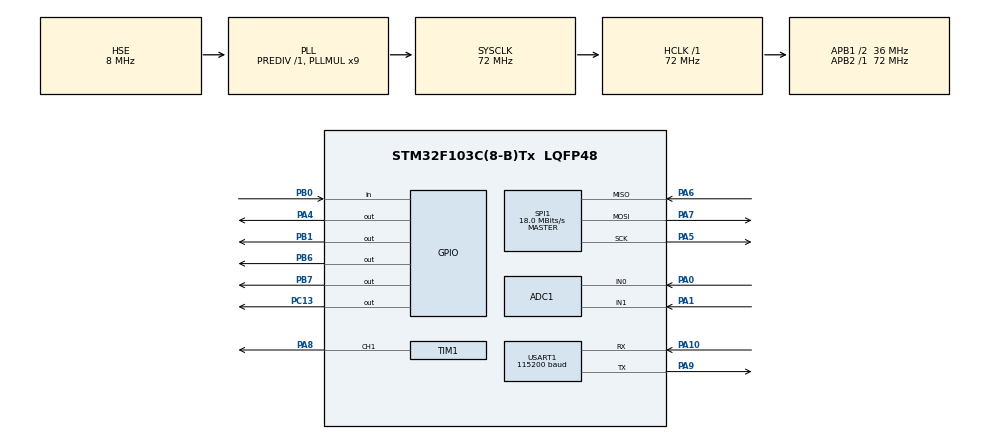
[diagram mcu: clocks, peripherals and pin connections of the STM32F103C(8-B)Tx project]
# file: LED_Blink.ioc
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ADC1.Channel-0\#ChannelRegularConversion=ADC_CHANNEL_0
ADC1.Channel-1\#ChannelRegularConversion=ADC_CHANNEL_1
ADC1.ContinuousConvMode=ENABLE
ADC1.NbrOfConversion=2
ADC1.NbrOfConversionFlag=1
ADC1.Rank-0\#ChannelRegularConversion=1
ADC1.Rank-1\#ChannelRegularConversion=2
ADC1.SamplingTime-0\#ChannelRegularConversion=ADC_SAMPLETIME_239CYCLES_5
ADC1.SamplingTime-1\#ChannelRegularConversion=ADC_SAMPLETIME_239CYCLES_5
ADC1.master=1
Dma.ADC1.0.Direction=DMA_PERIPH_TO_MEMORY
Dma.ADC1.0.Instance=DMA1_Channel1
Dma.ADC1.0.MemDataAlignment=DMA_MDATAALIGN_HALFWORD
Dma.ADC1.0.MemInc=DMA_MINC_ENABLE
Dma.ADC1.0.Mode=DMA_CIRCULAR
Dma.ADC1.0.PeriphDataAlignment=DMA_PDATAALIGN_HALFWORD
Dma.ADC1.0.PeriphInc=DMA_PINC_DISABLE
Dma.ADC1.0.Priority=DMA_PRIORITY_LOW
Dma.Request0=ADC1
FREERTOS.Tasks01=defaultTask,24,128,StartDefaultTask,Default,NULL,Dynamic,NULL,NULL
FREERTOS.configTOTAL_HEAP_SIZE=10240
Mcu.Family=STM32F1
Mcu.Name=STM32F103C(8-B)Tx
Mcu.Package=LQFP48
NVIC.DMA1_Channel1_IRQn=true\:5\:0\:false\:false\:true\:true\:false\:true\:true
NVIC.PriorityGroup=NVIC_PRIORITYGROUP_4
NVIC.TIM2_IRQn=true\:15\:0\:false\:false\:true\:false\:false\:true\:true
NVIC.TimeBase=TIM2_IRQn
NVIC.TimeBaseIP=TIM2
NVIC.USART1_IRQn=true\:3\:0\:true\:false\:true\:true\:true\:true\:true
PA0-WKUP.Signal=ADCx_IN0
PA1.Signal=ADCx_IN1
PA10.Mode=Asynchronous
PA10.Signal=USART1_RX
PA13.Mode=Serial_Wire
PA13.Signal=SYS_JTMS-SWDIO
PA14.Mode=Serial_Wire
PA14.Signal=SYS_JTCK-SWCLK
PA4.GPIO_Speed=GPIO_SPEED_FREQ_HIGH
PA4.PinState=GPIO_PIN_SET
PA4.Signal=GPIO_Output
PA5.Mode=Full_Duplex_Master
PA5.Signal=SPI1_SCK
PA6.Mode=Full_Duplex_Master
PA6.Signal=SPI1_MISO
PA7.Mode=Full_Duplex_Master
PA7.Signal=SPI1_MOSI
PA8.Signal=S_TIM1_CH1
PA9.Mode=Asynchronous
PA9.Signal=USART1_TX
PB0.GPIO_PuPd=GPIO_PULLUP
PB0.Signal=GPIO_Input
PB1.PinState=GPIO_PIN_SET
PB1.Signal=GPIO_Output
PB6.GPIO_ModeDefaultOutputPP=GPIO_MODE_OUTPUT_OD
PB6.GPIO_PuPd=GPIO_PULLUP
PB6.PinState=GPIO_PIN_SET
PB6.Signal=GPIO_Output
PB7.GPIO_ModeDefaultOutputPP=GPIO_MODE_OUTPUT_OD
PB7.GPIO_PuPd=GPIO_PULLUP
PB7.PinState=GPIO_PIN_SET
PB7.Signal=GPIO_Output
PC13-TAMPER-RTC.PinState=GPIO_PIN_SET
PC13-TAMPER-RTC.Signal=GPIO_Output
PD0-OSC_IN.Mode=HSE-External-Oscillator
PD0-OSC_IN.Signal=RCC_OSC_IN
PD1-OSC_OUT.Mode=HSE-External-Oscillator
PD1-OSC_OUT.Signal=RCC_OSC_OUT
ProjectManager.HeapSize=0x200
ProjectManager.StackSize=0x400
ProjectManager.TargetToolchain=STM32CubeIDE
RCC.ADCPresc=RCC_ADCPCLK2_DIV6
RCC.AHBFreq_Value=72000000
RCC.APB1CLKDivider=RCC_HCLK_DIV2
RCC.APB1Freq_Value=36000000
RCC.APB1TimFreq_Value=72000000
RCC.APB2Freq_Value=72000000
RCC.APB2TimFreq_Value=72000000
RCC.HCLKFreq_Value=72000000
RCC.PLLMUL=RCC_PLL_MUL9
RCC.PLLSourceVirtual=RCC_PLLSOURCE_HSE
RCC.SYSCLKFreq_VALUE=72000000
RCC.SYSCLKSource=RCC_SYSCLKSOURCE_PLLCLK
RCC.USBFreq_Value=72000000
SH.ADCx_IN0.0=ADC1_IN0,IN0
SH.ADCx_IN1.0=ADC1_IN1,IN1
SH.S_TIM1_CH1.0=TIM1_CH1,PWM Generation1 CH1
SPI1.BaudRatePrescaler=SPI_BAUDRATEPRESCALER_4
SPI1.CalculateBaudRate=18.0 MBits/s
SPI1.Direction=SPI_DIRECTION_2LINES
SPI1.Mode=SPI_MODE_MASTER
SPI1.VirtualType=VM_MASTER
TIM1.Channel-PWM\ Generation1\ CH1=TIM_CHANNEL_1
TIM1.Period=999
TIM1.Prescaler=71
TIM1.TIM_MasterSlaveMode=TIM_MASTERSLAVEMODE_ENABLE
USART1.BaudRate=115200
USART1.VirtualMode=VM_ASYNC
VP_FREERTOS_VS_CMSIS_V2.Mode=CMSIS_V2
VP_SYS_VS_tim2.Mode=TIM2
board=custom

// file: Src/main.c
/* USER CODE BEGIN Header */
/**
  ******************************************************************************
  * @file           : main.c
  * @brief          : Main program body
  ******************************************************************************
  * @attention
  *
  * Copyright (c) 2026 STMicroelectronics.
  * All rights reserved.
  *
  * This software is licensed under terms that can be found in the LICENSE file
  * in the root directory of this software component.
  * If no LICENSE file comes with this software, it is provided AS-IS.
  ******************************************************************************
  */
/* USER CODE BEGIN Header */
/**
  ******************************************************************************
  * @file           : main.c
  * @brief          : Main program body
  ******************************************************************************
  * @attention
  *
  * Copyright (c) 2026 STMicroelectronics.
  * All rights reserved.
  *
  * This software is licensed under terms that can be found in the LICENSE file
  * in the root directory of this software component.
  * If no LICENSE file comes with this software, it is provided AS-IS.
  ******************************************************************************
  */
/* USER CODE END Header */
#include "main.h"
#include "cmsis_os.h"

/* USER CODE BEGIN Includes */
#include <string.h>
#include <stdio.h>
#include "oled.h"
#include "w25q.h"
/* USER CODE END Includes */

ADC_HandleTypeDef hadc1;
DMA_HandleTypeDef hdma_adc1;

SPI_HandleTypeDef hspi1;

TIM_HandleTypeDef htim1;

UART_HandleTypeDef huart1;

/* Definitions for defaultTask */
osThreadId_t defaultTaskHandle;
const osThreadAttr_t defaultTask_attributes = {
  .name = "defaultTask",
  .stack_size = 128 * 4,
  .priority = (osPriority_t) osPriorityNormal,
};
/* USER CODE BEGIN PV */

uint8_t  led_flag = 0; //0灭，1亮
//ADC采集数据包，通过队列传递
typedef struct
{
    float volt_now;
    float volt_light;
}SensorData_t;

//Flash保存请求数据包：按键任务发送，Flash任务执行W25Q擦写
typedef struct
{
    float save_volt;
}FlashReq_t;

//创建队列
osMessageQueueId_t sensorQueueHandle;
const osMessageQueueAttr_t sensorQueue_attributes = {
  .name = "sensorQueue"
};

osMessageQueueId_t flashReqQueueHandle;
const osMessageQueueAttr_t flashReqQueue_attributes = {
  .name = "flashReqQueue"
};

osMutexId_t oledMutexHandle;
const osMutexAttr_t oledMutex_attributes = {
  .name = "oledMutex"
};

//保护 adc_volt_last 的互斥锁
osMutexId_t lastVoltMutexHandle;
const osMutexAttr_t lastVoltMutex_attributes = {
  .name = "lastVoltMutex"
};

uint16_t adc_buf[2];
float adc_volt_last = 0;
char oled_buf[20];
/* USER CODE END PV */

void SystemClock_Config(void);
static void MX_GPIO_Init(void);
static void MX_DMA_Init(void);
static void MX_USART1_UART_Init(void);
static void MX_TIM1_Init(void);
static void MX_ADC1_Init(void);
static void MX_SPI1_Init(void);
void StartDefaultTask(void *argument);

/* USER CODE BEGIN PFP */
void Task_Sensor(void *argument);
void Task_Display(void *argument);
void Task_Key(void *argument);
void Task_FlashStore(void *argument);  //新增：专门做W25Q擦写低优先级任务
/* USER CODE END PFP */

/* USER CODE BEGIN 0 */
#include "stdio.h"

int __io_putchar(int ch)
{
    HAL_UART_Transmit(&huart1,(uint8_t *)&ch,1,10);
    return ch;
}

/* USER CODE END 0 */

int main(void)
{

  /* MCU Configuration--------------------------------------------------------*/

  /* Reset of all peripherals, Initializes the Flash interface and the Systick. */
  HAL_Init();

  /* Configure the system clock */
  SystemClock_Config();

  /* Initialize all configured peripherals */
  MX_GPIO_Init();
  MX_DMA_Init();
  MX_USART1_UART_Init();
  MX_TIM1_Init();
  MX_ADC1_Init();
  MX_SPI1_Init();
  /* USER CODE BEGIN 2 */
  HAL_ADC_Start_DMA(&hadc1,(uint32_t*)adc_buf,2);//DMA连续采样，将采样值放入adc_buf[]中
  //上电读取保存电压
  adc_volt_last = W25Q_ReadVoltage();
  OLED_Init();
  OLED_Clear();
  OLED_ShowString(0,0,"TEST OLED");
  /* USER CODE END 2 */

  /* Init scheduler */
  osKernelInitialize();

  /* USER CODE BEGIN RTOS_MUTEX */
  /* add mutexes, ... */
  oledMutexHandle = osMutexNew(&oledMutex_attributes);
  lastVoltMutexHandle = osMutexNew(&lastVoltMutex_attributes);
  /* USER CODE END RTOS_MUTEX */

  /* USER CODE BEGIN RTOS_QUEUES */
  /* add queues, ... */
  //传感器队列增大到十六
  sensorQueueHandle = osMessageQueueNew(16, sizeof(SensorData_t), &sensorQueue_attributes);
  //Flash请求队列深度4
  flashReqQueueHandle = osMessageQueueNew(4, sizeof(FlashReq_t), &flashReqQueue_attributes);
  /* USER CODE END RTOS_QUEUES */

  /* Create the thread(s) */
  /* creation of defaultTask */
  defaultTaskHandle = osThreadNew(StartDefaultTask, NULL, &defaultTask_attributes);

  /* USER CODE BEGIN RTOS_THREADS */
  /* add threads, ... */
  //传感器采集任务 栈1024，普通优先级
  osThreadNew(Task_Sensor, NULL, &(const osThreadAttr_t){.name="TaskSensor",.stack_size=1024,.priority=osPriorityNormal});
  //OLED显示任务
  osThreadNew(Task_Display, NULL, &(const osThreadAttr_t){.name="TaskDisp",.stack_size=1024,.priority=osPriorityNormal1});
  //按键任务
  osThreadNew(Task_Key, NULL, &(const osThreadAttr_t){.name="TaskKey",.stack_size=512,.priority=osPriorityNormal});
  //Flash存储任务：低优先级 osPriorityLow，专门处理W25Q耗时擦写
  osThreadNew(Task_FlashStore, NULL, &(const osThreadAttr_t){.name="TaskFlash",.stack_size=1024,.priority=osPriorityLow});
  /* USER CODE END RTOS_THREADS */

  /* Start scheduler */
  osKernelStart();

  /* We should never get here as control is now taken by the scheduler */

  /* Infinite loop */
  while (1)
  {
  }

}

void SystemClock_Config(void)
{
  RCC_OscInitTypeDef RCC_OscInitStruct = {0};
  RCC_ClkInitTypeDef RCC_ClkInitStruct = {0};
  RCC_PeriphCLKInitTypeDef PeriphClkInit = {0};

  /** Initializes the RCC Oscillators according to the specified parameters
  * in the RCC_OscInitTypeDef structure.
  */
  RCC_OscInitStruct.OscillatorType = RCC_OSCILLATORTYPE_HSE;
  RCC_OscInitStruct.HSEState = RCC_HSE_ON;
  RCC_OscInitStruct.HSEPredivValue = RCC_HSE_PREDIV_DIV1;
  RCC_OscInitStruct.HSIState = RCC_HSI_ON;
  RCC_OscInitStruct.PLL.PLLState = RCC_PLL_ON;
  RCC_OscInitStruct.PLL.PLLSource = RCC_PLLSOURCE_HSE;
  RCC_OscInitStruct.PLL.PLLMUL = RCC_PLL_MUL9;
  if (HAL_RCC_OscConfig(&RCC_OscInitStruct) != HAL_OK)
  {
    Error_Handler();
  }

  /** Initializes the CPU, AHB and APB buses clocks
  */
  RCC_ClkInitStruct.ClockType = RCC_CLOCKTYPE_HCLK|RCC_CLOCKTYPE_SYSCLK
                              |RCC_CLOCKTYPE_PCLK1|RCC_CLOCKTYPE_PCLK2;
  RCC_ClkInitStruct.SYSCLKSource = RCC_SYSCLKSOURCE_PLLCLK;
  RCC_ClkInitStruct.AHBCLKDivider = RCC_SYSCLK_DIV1;
  RCC_ClkInitStruct.APB1CLKDivider = RCC_HCLK_DIV2;
  RCC_ClkInitStruct.APB2CLKDivider = RCC_HCLK_DIV1;

  if (HAL_RCC_ClockConfig(&RCC_ClkInitStruct, FLASH_LATENCY_2) != HAL_OK)
  {
    Error_Handler();
  }
  PeriphClkInit.PeriphClockSelection = RCC_PERIPHCLK_ADC;
  PeriphClkInit.AdcClockSelection = RCC_ADCPCLK2_DIV6;
  if (HAL_RCCEx_PeriphCLKConfig(&PeriphClkInit) != HAL_OK)
  {
    Error_Handler();
  }
}

static void MX_ADC1_Init(void)
{

  ADC_ChannelConfTypeDef sConfig = {0};

  /** Common config
  */
  hadc1.Instance = ADC1;
  hadc1.Init.ScanConvMode = ADC_SCAN_ENABLE;
  hadc1.Init.ContinuousConvMode = ENABLE;
  hadc1.Init.DiscontinuousConvMode = DISABLE;
  hadc1.Init.ExternalTrigConv = ADC_SOFTWARE_START;
  hadc1.Init.DataAlign = ADC_DATAALIGN_RIGHT;
  hadc1.Init.NbrOfConversion = 2;
  if (HAL_ADC_Init(&hadc1) != HAL_OK)
  {
    Error_Handler();
  }

  /** Configure Regular Channel
  */
  sConfig.Channel = ADC_CHANNEL_0;
  sConfig.Rank = ADC_REGULAR_RANK_1;
  sConfig.SamplingTime = ADC_SAMPLETIME_239CYCLES_5;
  if (HAL_ADC_ConfigChannel(&hadc1, &sConfig) != HAL_OK)
  {
    Error_Handler();
  }

  /** Configure Regular Channel
  */
  sConfig.Channel = ADC_CHANNEL_1;
  sConfig.Rank = ADC_REGULAR_RANK_2;
  if (HAL_ADC_ConfigChannel(&hadc1, &sConfig) != HAL_OK)
  {
    Error_Handler();
  }

}

static void MX_SPI1_Init(void)
{

  /* SPI1 parameter configuration*/
  hspi1.Instance = SPI1;
  hspi1.Init.Mode = SPI_MODE_MASTER;
  hspi1.Init.Direction = SPI_DIRECTION_2LINES;
  hspi1.Init.DataSize = SPI_DATASIZE_8BIT;
  hspi1.Init.CLKPolarity = SPI_POLARITY_LOW;
  hspi1.Init.CLKPhase = SPI_PHASE_1EDGE;
  hspi1.Init.NSS = SPI_NSS_SOFT;
  hspi1.Init.BaudRatePrescaler = SPI_BAUDRATEPRESCALER_4;
  hspi1.Init.FirstBit = SPI_FIRSTBIT_MSB;
  hspi1.Init.TIMode = SPI_TIMODE_DISABLE;
  hspi1.Init.CRCCalculation = SPI_CRCCALCULATION_DISABLE;
  hspi1.Init.CRCPolynomial = 10;
  if (HAL_SPI_Init(&hspi1) != HAL_OK)
  {
    Error_Handler();
  }

}

static void MX_TIM1_Init(void)
{

  TIM_MasterConfigTypeDef sMasterConfig = {0};
  TIM_OC_InitTypeDef sConfigOC = {0};
  TIM_BreakDeadTimeConfigTypeDef sBreakDeadTimeConfig = {0};

  htim1.Instance = TIM1;
  htim1.Init.Prescaler = 71;
  htim1.Init.CounterMode = TIM_COUNTERMODE_UP;
  htim1.Init.Period = 999;
  htim1.Init.ClockDivision = TIM_CLOCKDIVISION_DIV1;
  htim1.Init.RepetitionCounter = 0;
  htim1.Init.AutoReloadPreload = TIM_AUTORELOAD_PRELOAD_DISABLE;
  if (HAL_TIM_PWM_Init(&htim1) != HAL_OK)
  {
    Error_Handler();
  }
  sMasterConfig.MasterOutputTrigger = TIM_TRGO_RESET;
  sMasterConfig.MasterSlaveMode = TIM_MASTERSLAVEMODE_ENABLE;
  if (HAL_TIMEx_MasterConfigSynchronization(&htim1, &sMasterConfig) != HAL_OK)
  {
    Error_Handler();
  }
  sConfigOC.OCMode = TIM_OCMODE_PWM1;
  sConfigOC.Pulse = 0;
  sConfigOC.OCPolarity = TIM_OCPOLARITY_HIGH;
  sConfigOC.OCNPolarity = TIM_OCNPOLARITY_HIGH;
  sConfigOC.OCFastMode = TIM_OCFAST_DISABLE;
  sConfigOC.OCIdleState = TIM_OCIDLESTATE_RESET;
  sConfigOC.OCNIdleState = TIM_OCNIDLESTATE_RESET;
  if (HAL_TIM_PWM_ConfigChannel(&htim1, &sConfigOC, TIM_CHANNEL_1) != HAL_OK)
  {
    Error_Handler();
  }
  sBreakDeadTimeConfig.OffStateRunMode = TIM_OSSR_DISABLE;
  sBreakDeadTimeConfig.OffStateIDLEMode = TIM_OSSI_DISABLE;
  sBreakDeadTimeConfig.LockLevel = TIM_LOCKLEVEL_OFF;
  sBreakDeadTimeConfig.DeadTime = 0;
  sBreakDeadTimeConfig.BreakState = TIM_BREAK_DISABLE;
  sBreakDeadTimeConfig.BreakPolarity = TIM_BREAKPOLARITY_HIGH;
  sBreakDeadTimeConfig.AutomaticOutput = TIM_AUTOMATICOUTPUT_DISABLE;
  if (HAL_TIMEx_ConfigBreakDeadTime(&htim1, &sBreakDeadTimeConfig) != HAL_OK)
  {
    Error_Handler();
  }
  HAL_TIM_MspPostInit(&htim1);

}

static void MX_USART1_UART_Init(void)
{

  huart1.Instance = USART1;
  huart1.Init.BaudRate = 115200;
  huart1.Init.WordLength = UART_WORDLENGTH_8B;
  huart1.Init.StopBits = UART_STOPBITS_1;
  huart1.Init.Parity = UART_PARITY_NONE;
  huart1.Init.Mode = UART_MODE_TX_RX;
  huart1.Init.HwFlowCtl = UART_HWCONTROL_NONE;
  huart1.Init.OverSampling = UART_OVERSAMPLING_16;
  if (HAL_UART_Init(&huart1) != HAL_OK)
  {
    Error_Handler();
  }

}

static void MX_DMA_Init(void)
{

  /* DMA controller clock enable */
  __HAL_RCC_DMA1_CLK_ENABLE();

  /* DMA interrupt init */
  /* DMA1_Channel1_IRQn interrupt configuration */
  HAL_NVIC_SetPriority(DMA1_Channel1_IRQn, 5, 0);
  HAL_NVIC_EnableIRQ(DMA1_Channel1_IRQn);

}

static void MX_GPIO_Init(void)
{
  GPIO_InitTypeDef GPIO_InitStruct = {0};

  /* GPIO Ports Clock Enable */
  __HAL_RCC_GPIOC_CLK_ENABLE();
  __HAL_RCC_GPIOD_CLK_ENABLE();
  __HAL_RCC_GPIOA_CLK_ENABLE();
  __HAL_RCC_GPIOB_CLK_ENABLE();

  /*Configure GPIO pin Output Level */
  HAL_GPIO_WritePin(GPIOC, GPIO_PIN_13, GPIO_PIN_SET);

  /*Configure GPIO pin Output Level */
  HAL_GPIO_WritePin(GPIOA, GPIO_PIN_4, GPIO_PIN_SET);

  /*Configure GPIO pin Output Level */
  HAL_GPIO_WritePin(GPIOB, GPIO_PIN_1|GPIO_PIN_6|GPIO_PIN_7, GPIO_PIN_SET);

  /*Configure GPIO pin : PC13 */
  GPIO_InitStruct.Pin = GPIO_PIN_13;
  GPIO_InitStruct.Mode = GPIO_MODE_OUTPUT_PP;
  GPIO_InitStruct.Pull = GPIO_NOPULL;
  GPIO_InitStruct.Speed = GPIO_SPEED_FREQ_LOW;
  HAL_GPIO_Init(GPIOC, &GPIO_InitStruct);

  /*Configure GPIO pin : PA4 */
  GPIO_InitStruct.Pin = GPIO_PIN_4;
  GPIO_InitStruct.Mode = GPIO_MODE_OUTPUT_PP;
  GPIO_InitStruct.Pull = GPIO_NOPULL;
  GPIO_InitStruct.Speed = GPIO_SPEED_FREQ_HIGH;
  HAL_GPIO_Init(GPIOA, &GPIO_InitStruct);

  /*Configure GPIO pin : PB0 */
  GPIO_InitStruct.Pin = GPIO_PIN_0;
  GPIO_InitStruct.Mode = GPIO_MODE_INPUT;
  GPIO_InitStruct.Pull = GPIO_PULLUP;
  HAL_GPIO_Init(GPIOB, &GPIO_InitStruct);

  /*Configure GPIO pin : PB1 */
  GPIO_InitStruct.Pin = GPIO_PIN_1;
  GPIO_InitStruct.Mode = GPIO_MODE_OUTPUT_PP;
  GPIO_InitStruct.Pull = GPIO_NOPULL;
  GPIO_InitStruct.Speed = GPIO_SPEED_FREQ_LOW;
  HAL_GPIO_Init(GPIOB, &GPIO_InitStruct);

  /*Configure GPIO pins : PB6 PB7 */
  GPIO_InitStruct.Pin = GPIO_PIN_6|GPIO_PIN_7;
  GPIO_InitStruct.Mode = GPIO_MODE_OUTPUT_OD;
  GPIO_InitStruct.Pull = GPIO_PULLUP;
  GPIO_InitStruct.Speed = GPIO_SPEED_FREQ_LOW;
  HAL_GPIO_Init(GPIOB, &GPIO_InitStruct);

}

/* USER CODE BEGIN 4 */
/**
 * 传感器采集任务：200ms周期，读取ADC，投递队列
 */
void Task_Sensor(void *argument)
{
    SensorData_t data;
    uint16_t local_adc[2];
    for(;;)
    {
    	//拷贝DMA缓冲区，防止读取过程DMA改写
    	local_adc[0] = adc_buf[0];
    	local_adc[1] = adc_buf[1];

        data.volt_now  = local_adc[0] * 3.3f / 4095.0f;
        data.volt_light= local_adc[1] * 3.3f / 4095.0f;

        //投递数据到队列
        osMessageQueuePut(sensorQueueHandle, &data, 0U, 0U);

        osDelay(200);
    }
}
/**
 * OLED显示任务：阻塞等待队列数据，刷新屏幕、对比度、LED告警
 * tick改为任务局部变量，不再static
 */
void Task_Display(void *argument)
{
	uint32_t tick=0;
    SensorData_t rcvData;
    for(;;)
    {
        //等待队列数据，阻塞等待
        if(osMessageQueueGet(sensorQueueHandle, &rcvData, NULL, osWaitForever)==osOK)
        {
        	//=====新增OLED通信检测=====
        	if(OLED_CheckReady() != 0)
        	{
        	//OLED通信故障，跳过本次刷新，不操作I2C
        	continue;
        	}

            //拿OLED互斥锁
            osMutexAcquire(oledMutexHandle, osWaitForever);

            //自适应对比度
            uint8_t contrast  = (uint8_t)(0xFF * (1.0f - (rcvData.volt_light / 3.3f)));
            if(contrast < 0x15) contrast = 0x15;
            OLED_Write_Cmd(0x81);
            OLED_Write_Cmd(contrast);

            sprintf(oled_buf,"LUX:  %.2fV",rcvData.volt_light);
            OLED_ShowString(0,0,oled_buf);

            sprintf(oled_buf,"Now:  %.2fV",rcvData.volt_now);
            OLED_ShowString(0,2, oled_buf);
            printf("now=%.2f last=%.2f lux=%.2f\r\n",rcvData.volt_now,adc_volt_last,rcvData.volt_light);
            // 读取 adc_volt_last（加锁）
            osMutexAcquire(lastVoltMutexHandle, osWaitForever);
            float last = adc_volt_last;
            osMutexRelease(lastVoltMutexHandle);
            sprintf(oled_buf, "Last: %.2fV", last);
            OLED_ShowString(0, 4, oled_buf);

            //光照告警LED闪烁
            if(contrast < 0x7F)
            {
                if(osKernelGetTickCount()-tick >= 200)
                {
                    tick = osKernelGetTickCount();
                    led_flag = !led_flag;
                    HAL_GPIO_WritePin(GPIOB, GPIO_PIN_1, led_flag?GPIO_PIN_SET:GPIO_PIN_RESET);
                }
            }
            else
            {
                HAL_GPIO_WritePin(GPIOB,GPIO_PIN_1,GPIO_PIN_RESET);
                led_flag = 0;
                tick = osKernelGetTickCount(); // ✅熄灭时重置计时
            }

            //释放互斥锁
            osMutexRelease(oledMutexHandle);
        }
    }
}

/**
 * 按键检测任务：只做按键检测，发送Flash存储请求，**不执行耗时W25Q操作
 */
void Task_Key(void *argument)
{
    uint8_t key_press_flag = 0;
    FlashReq_t req;
    uint16_t local_adc_key; // ✅增加局部快照变量
    for(;;)
    {
        if(HAL_GPIO_ReadPin(GPIOB,GPIO_PIN_0)==GPIO_PIN_RESET && key_press_flag == 0)
        {
            osDelay(20);
            if(HAL_GPIO_ReadPin(GPIOB,GPIO_PIN_0)==GPIO_PIN_RESET)
            {
                key_press_flag = 1;
                //填充要保存的电压，发送请求给Flash任务
                local_adc_key = adc_buf[0];                 // ✅DMA缓冲区快照拷贝
                req.save_volt  = local_adc_key * 3.3f / 4095.0f;
                osMessageQueuePut(flashReqQueueHandle, &req,0U,0U);
            }
        }
        if(HAL_GPIO_ReadPin(GPIOB,GPIO_PIN_0)==GPIO_PIN_SET && key_press_flag ==1)
        {
            osDelay(20);
            if(HAL_GPIO_ReadPin(GPIOB,GPIO_PIN_0)==GPIO_PIN_SET)
            {
                key_press_flag = 0;
            }
        }
        osDelay(10);
    }
}
/**
 * 【新增低优先级Flash任务】专门处理W25Q擦除、写入耗时操作
 * 优先级osPriorityLow，不会抢占传感器、显示、按键等高响应任务
 */
void Task_FlashStore(void *argument)
{
    FlashReq_t req;
    float read_back;
    for(;;)
    {
        //阻塞等待保存请求
        if(osMessageQueueGet(flashReqQueueHandle,&req,NULL,osWaitForever) == osOK)
        {
            //执行耗时W25Q扇区擦除+写入
            W25Q_SaveVoltage(req.save_volt);
            read_back = W25Q_ReadVoltage();

            // 更新全局变量
            osMutexAcquire(lastVoltMutexHandle, osWaitForever);
            adc_volt_last = read_back;
            osMutexRelease(lastVoltMutexHandle);

        }
    }
}
/* USER CODE END 4 */

void StartDefaultTask(void *argument)
{
  for(;;)
  {
    osDelay(1);
  }
}

void HAL_TIM_PeriodElapsedCallback(TIM_HandleTypeDef *htim)
{
  if (htim->Instance == TIM2)
  {
    HAL_IncTick();
  }
}

void Error_Handler(void)
{
  __disable_irq();
  while (1)
  {
  }
}
